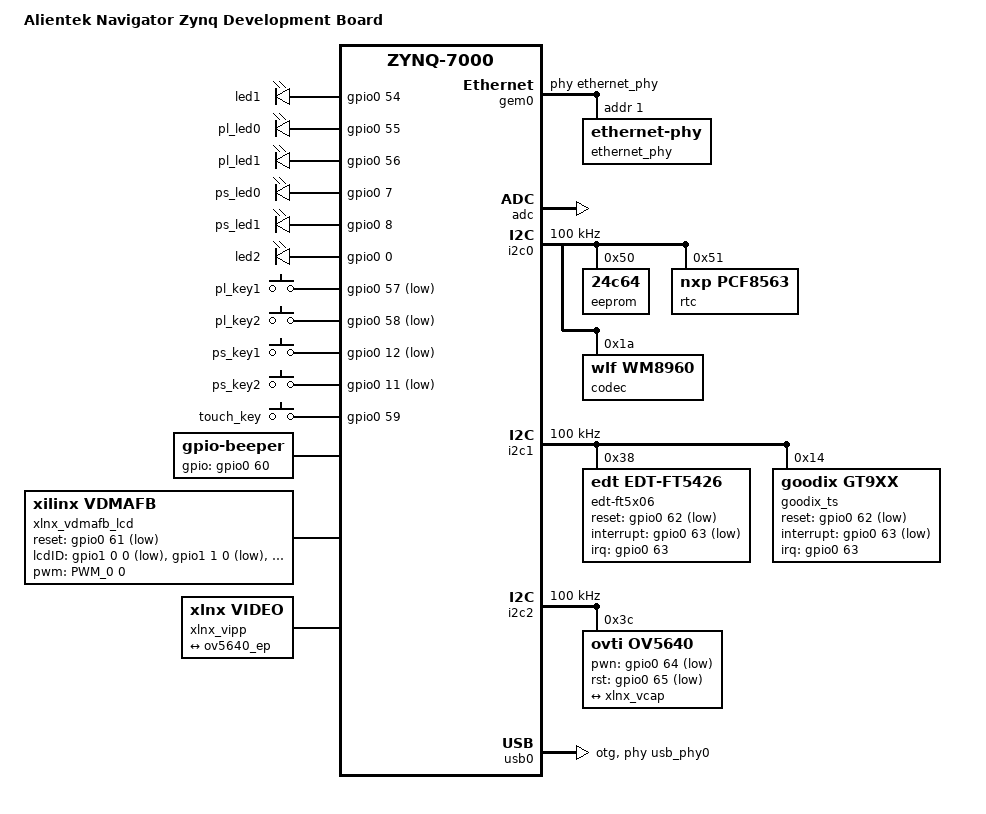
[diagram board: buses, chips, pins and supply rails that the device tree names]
/include/ "system-conf.dtsi"
#include <dt-bindings/gpio/gpio.h>

/ {
	model = "Alientek Navigator Zynq Development Board";
	compatible = "xlnx,zynq-zc702", "xlnx,zynq-7000";

	aliases {
		ethernet0 = &gem0;
		ethernet1 = &gem1;
		i2c0 = &i2c0;
		i2c1 = &i2c1;
		i2c2 = &i2c2;
		serial0 = &uart0;
		serial1 = &uart1;
		spi0 = &qspi;
		mmc0 = &sdhci0;
		mmc1 = &sdhci1;
		usb0 = &usb0;
		gpio0 = &gpio0;
		gpio1 = &gpio1;
	};

	leds {
		compatible = "gpio-leds";

		gpio-led1 {
			label = "led1";
			gpios = <&gpio0 54 GPIO_ACTIVE_HIGH>;
			linux,default-trigger = "heartbeat";
		};

		gpio-led2 {
			label = "pl_led0";
			gpios = <&gpio0 55 GPIO_ACTIVE_HIGH>;
			default-state = "on";
		};

		gpio-led3 {
			label = "pl_led1";
			gpios = <&gpio0 56 GPIO_ACTIVE_HIGH>;
			default-state = "on";
		};

		gpio-led4 {
			label = "ps_led0";
			gpios = <&gpio0 7 GPIO_ACTIVE_HIGH>;
			default-state = "on";
		};

		gpio-led5 {
			label = "ps_led1";
			gpios = <&gpio0 8 GPIO_ACTIVE_HIGH>;
			default-state = "on";
		};

		gpio-led6 {
			label = "led2";
			gpios = <&gpio0 0 GPIO_ACTIVE_HIGH>;
			default-state = "on";
		};
	};

	keys {
		compatible = "gpio-keys";
		autorepeat;

		gpio-key1 {
			label = "pl_key1";
			gpios = <&gpio0 57 GPIO_ACTIVE_LOW>;
			linux,code = <105>;   // Right
			debounce-interval = <20>;  // 20ms
		};

		gpio-key2 {
			label = "pl_key2";
			gpios = <&gpio0 58 GPIO_ACTIVE_LOW>;
			linux,code = <106>;   // Left
			debounce-interval = <20>;
		};

		gpio-key3 {
			label = "ps_key1";
			gpios = <&gpio0 12 GPIO_ACTIVE_LOW>;
			linux,code = <103>;   // Up
			debounce-interval = <20>;
		};

		gpio-key4 {
			label = "ps_key2";
			gpios = <&gpio0 11 GPIO_ACTIVE_LOW>;
			linux,code = <108>;   // Down
			debounce-interval = <20>;
		};

		touch-key {
			label = "touch_key";
			gpios = <&gpio0 59 GPIO_ACTIVE_HIGH>;
			linux,code = <28>;   // ENTER
			gpio-key,wakeup;
			debounce-interval = <20>;
		};
	};

	beep {
		compatible = "gpio-beeper";
		gpios = <&gpio0 60 GPIO_ACTIVE_HIGH>;
	};

	usb_phy0: phy0@e0002000 {
		compatible = "ulpi-phy";
		#phy-cells = <0>;
		reg = <0xe0002000 0x1000>;
		view-port = <0x0170>;
		drv-vbus;
	};
};

&qspi {
	u-boot,dm-pre-reloc;
};

&flash0 {
	compatible = "w25q256";
};

&watchdog0 {
	reset-on-timeout;		// Enable watchdog reset function
};

&PWM_0 {
	compatible = "digilent,axi-pwm";
	#pwm-cells = <2>;
	clock-names = "pwm";
	npwm = <1>;
};

&gem0 {
	phy-handle = <&ethernet_phy>;
	local-mac-address = [00 0a 35 00 1e 53];

	ethernet_phy: ethernet-phy@1 {          /* rtl8211e */
		reg = <0x1>;
		device_type = "ethernet-phy";
	};
};

&gem1 {
	local-mac-address = [00 0a 35 00 11 55];
	phy-reset-gpio = <&gpio0 66 GPIO_ACTIVE_LOW>;
	phy-reset-active-low;
};

&phy0 {
	reg = <0x19>;   /* B50610 phy address */
};

&sdhci0 {
	u-boot,dm-pre-reloc;
};

&uart0 {
	u-boot,dm-pre-reloc;
};

&adc {
	status = "okay";

	xlnx,channels {
		#address-cells = <1>;
		#size-cells = <0>;

		channel@0 {
			reg = <0>;
		};
	};
};

&i2c0 {
	clock-frequency = <100000>;

	eeprom@50 {
		compatible = "24c64";
		reg = <0x50>;
		pagesize = <32>;
	};

	rtc@51 {
		compatible = "nxp,pcf8563";
		reg = <0x51>;
	};

	codec: wm8960@1a {
		compatible = "wlf,wm8960";
		reg = <0x1a>;
		#sound-dai-cells = <0>;
		wlf,shared-lrclk;
	};
};

&i2c1 {
	clock-frequency = <100000>;

	edt-ft5x06@38 {
		compatible = "edt,edt-ft5426";
		reg = <0x38>;
		interrupt-parent = <&gpio0>;
		interrupts = <63 0x2>;
		reset-gpio = <&gpio0 62 GPIO_ACTIVE_LOW>;
		interrupt-gpio = <&gpio0 63 GPIO_ACTIVE_LOW>;
	};

	goodix_ts@5d {
		compatible = "goodix,gt9xx";
		status = "okay";
		// reg = <0x5d>;
		reg = <0x14>;
		interrupt-parent = <&gpio0>;
		interrupts = <63 0x2>;
		reset-gpio = <&gpio0 62 GPIO_ACTIVE_LOW>;
		interrupt-gpio = <&gpio0 63 GPIO_ACTIVE_LOW>;
	};
};

&i2c2 {
	clock-frequency = <100000>;

	ov5640@3c {
		compatible = "ovti,ov5640";
		reg = <0x3c>;

		pwn-gpios = <&gpio0 64 GPIO_ACTIVE_LOW>;
		rst-gpios = <&gpio0 65 GPIO_ACTIVE_LOW>;

		status = "okay";

		#address-cells = <1>;
		#size-cells = <0>;

		port@0 {
			reg = <0>;

			ov5640_ep: endpoint {
				remote-endpoint = <&xlnx_vcap>;
			};
		};
	};
};

&usb0 {
	dr_mode = "otg";
	usb-phy = <&usb_phy0>;
};

&lcd_vtc {
	compatible = "xlnx,v-tc-5.01.a";
};

&lcd_vdma {
	dma-ranges = <0x00000000 0x00000000 0x20000000>;	// 512MB
};

&audio_formatter {
	xlnx,tx = <&i2s_transmitter>;
	xlnx,rx = <&i2s_receiver>;
	audio-codec = <&codec>;
};

&i2s_receiver {
	xlnx,snd-pcm = <&audio_formatter>;
};

&i2s_transmitter {
	xlnx,snd-pcm = <&audio_formatter>;
};

&amba_pl {
	xlnx_vdmafb_lcd {
		compatible = "xilinx,vdmafb";
		status = "okay";

		vtc = <&lcd_vtc>;
		clocks = <&clk_wiz_0 0>;
		clock-names = "lcd_pclk";
		dmas = <&lcd_vdma 0>;
		dma-names = "lcd_vdma";

		pwms = <&PWM_0 0 5000000>;
		reset-gpio = <&gpio0 61 GPIO_ACTIVE_LOW>;
		lcdID-gpio = <&gpio1 0 0 GPIO_ACTIVE_LOW &gpio1 1 0 GPIO_ACTIVE_LOW &gpio1 2 0 GPIO_ACTIVE_LOW>;

		display-timings {
			timing_4342: timing0 {
				clock-frequency = <9000000>;
				hactive = <480>;
				vactive = <272>;
				hback-porch = <40>;
				hfront-porch = <5>;
				hsync-len = <1>;
				vback-porch = <8>;
				vfront-porch = <8>;
				vsync-len = <1>;
				hsync-active = <0>;
				vsync-active = <0>;
				de-active = <1>;
				pixelclk-active = <0>;
			};
			timing_4384: timing1 {
				clock-frequency = <31000000>;
				hactive = <800>;
				vactive = <480>;
				hback-porch = <88>;
				hfront-porch = <40>;
				hsync-len = <48>;
				vback-porch = <32>;
				vfront-porch = <13>;
				vsync-len = <3>;
				hsync-active = <0>;
				vsync-active = <0>;
				de-active = <1>;
				pixelclk-active = <0>;
			};
			timing_7084: timing2 {
				clock-frequency = <33300000>;
				hactive = <800>;
				vactive = <480>;
				hback-porch = <46>;
				hfront-porch = <210>;
				hsync-len = <1>;
				vback-porch = <23>;
				vfront-porch = <22>;
				vsync-len = <1>;
				hsync-active = <0>;
				vsync-active = <0>;
				de-active = <1>;
				pixelclk-active = <0>;
			};
			timing_7016: timing3 {
				clock-frequency = <51200000>;
				hactive = <1024>;
				vactive = <600>;
				hback-porch = <140>;
				hfront-porch = <160>;
				hsync-len = <20>;
				vback-porch = <20>;
				vfront-porch = <12>;
				vsync-len = <3>;
				hsync-active = <0>;
				vsync-active = <0>;
				de-active = <1>;
				pixelclk-active = <0>;
			};
			timing_1018: timing4 {
				clock-frequency = <71100000>;
				hactive = <1280>;
				vactive = <800>;
				hback-porch = <80>;
				hfront-porch = <70>;
				hsync-len = <10>;
				vback-porch = <10>;
				vfront-porch = <10>;
				vsync-len = <3>;
				hsync-active = <0>;
				vsync-active = <0>;
				de-active = <1>;
				pixelclk-active = <0>;
			};
		};
	};

	xlnx_vipp {
		compatible = "xlnx,video";
		dmas = <&lcd_vdma 1>;
		dma-names = "port0";
		status = "okay";

		ports {
			#address-cells = <1>;
			#size-cells = <0>;

			port@0 {
				reg = <0>;
				direction = "input";

				xlnx_vcap: endpoint {
					remote-endpoint = <&ov5640_ep>;
				};
			};
		};
	};
};
